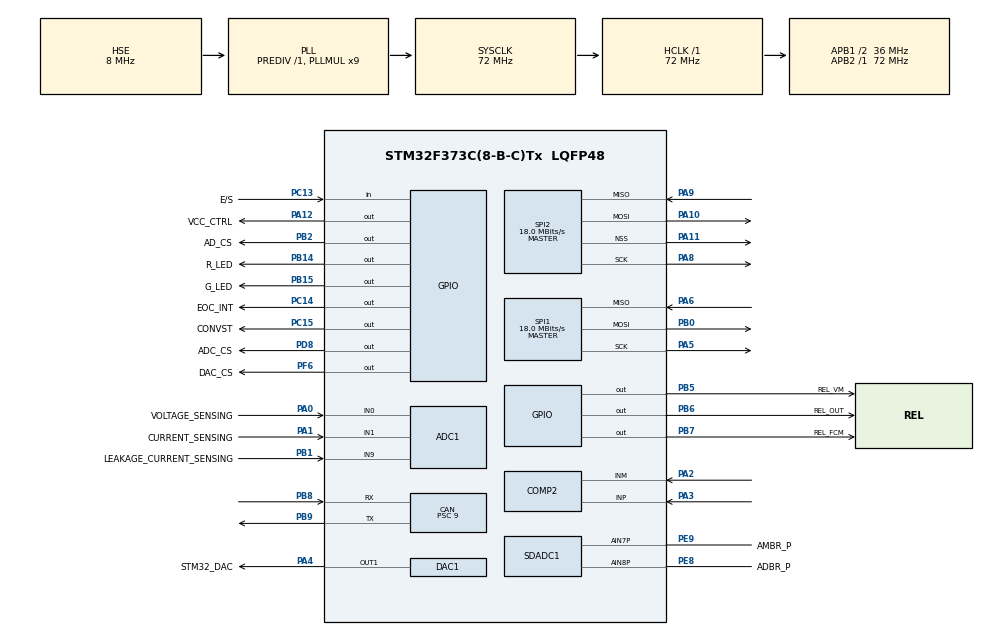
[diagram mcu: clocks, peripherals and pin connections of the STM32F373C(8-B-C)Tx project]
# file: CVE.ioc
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ADC1.Channel-10\#ChannelRegularConversion=ADC_CHANNEL_1
ADC1.Channel-9\#ChannelRegularConversion=ADC_CHANNEL_0
ADC1.ContinuousConvMode=ENABLE
ADC1.DataAlign=ADC_DATAALIGN_RIGHT
ADC1.DiscontinuousConvMode=DISABLE
ADC1.EnableRegularConversion=ENABLE
ADC1.InjNumberOfConversion=0
ADC1.NbrOfConversion=2
ADC1.NbrOfConversionFlag=1
ADC1.Rank-10\#ChannelRegularConversion=2
ADC1.Rank-9\#ChannelRegularConversion=1
ADC1.SamplingTime-10\#ChannelRegularConversion=ADC_SAMPLETIME_71CYCLES_5
ADC1.SamplingTime-9\#ChannelRegularConversion=ADC_SAMPLETIME_71CYCLES_5
ADC1.ScanConvMode=ADC_SCAN_ENABLE
ADC1.master=1
CAN.BS1=CAN_BS1_13TQ
CAN.BS2=CAN_BS2_2TQ
CAN.CalculateTimeBit=4000
CAN.CalculateTimeQuantum=250.0
CAN.Prescaler=9
DAC1.DAC_Trigger=DAC_TRIGGER_NONE
Dma.ADC1.0.Direction=DMA_PERIPH_TO_MEMORY
Dma.ADC1.0.Instance=DMA1_Channel1
Dma.ADC1.0.MemDataAlignment=DMA_MDATAALIGN_HALFWORD
Dma.ADC1.0.MemInc=DMA_MINC_ENABLE
Dma.ADC1.0.Mode=DMA_NORMAL
Dma.ADC1.0.PeriphDataAlignment=DMA_PDATAALIGN_HALFWORD
Dma.ADC1.0.PeriphInc=DMA_PINC_DISABLE
Dma.ADC1.0.Priority=DMA_PRIORITY_VERY_HIGH
Dma.Request0=ADC1
FREERTOS.Tasks01=defaultTask,0,128,StartDefaultTask,Default
Mcu.Family=STM32F3
Mcu.Name=STM32F373C(8-B-C)Tx
Mcu.Package=LQFP48
NVIC.DMA1_Channel1_IRQn=true\:5\:0\:false\:false\:true\:true
NVIC.PriorityGroup=NVIC_PRIORITYGROUP_4
NVIC.TIM2_IRQn=true\:0\:0\:false\:false\:true\:false
NVIC.TimeBase=TIM2_IRQn
NVIC.TimeBaseIP=TIM2
PA0.GPIO_Label=VOLTAGE_SENSING
PA0.Mode=IN0
PA0.Signal=ADC1_IN0
PA1.GPIO_Label=CURRENT_SENSING
PA1.Mode=IN1
PA1.Signal=ADC1_IN1
PA10.Mode=Full_Duplex_Master
PA10.Signal=SPI2_MOSI
PA11.GPIO_PuPd=GPIO_PULLUP
PA11.Mode=NSS_Signal_Hard_Output
PA11.Signal=SPI2_NSS
PA12.GPIO_Label=VCC_CTRL
PA12.GPIO_ModeDefaultOutputPP=GPIO_MODE_OUTPUT_OD
PA12.PinState=GPIO_PIN_SET
PA12.Signal=GPIO_Output
PA13.Mode=Trace_Asynchronous_SW
PA13.Signal=SYS_JTMS-SWDIO
PA14.Mode=Trace_Asynchronous_SW
PA14.Signal=SYS_JTCK-SWCLK
PA15.Signal=SYS_JTDI
PA2.Mode=INM
PA2.Signal=COMP2_INM
PA3.Mode=INP
PA3.Signal=COMP2_INP
PA4.GPIO_Label=STM32_DAC
PA4.Signal=COMP_DAC11_group
PA5.Mode=Full_Duplex_Master
PA5.Signal=SPI1_SCK
PA6.Mode=Full_Duplex_Master
PA6.Signal=SPI1_MISO
PA8.Mode=Full_Duplex_Master
PA8.Signal=SPI2_SCK
PA9.Mode=Full_Duplex_Master
PA9.Signal=SPI2_MISO
PB0.Mode=Full_Duplex_Master
PB0.Signal=SPI1_MOSI
PB1.GPIO_Label=LEAKAGE_CURRENT_SENSING
PB1.Mode=IN9
PB1.Signal=ADC1_IN9
PB14.GPIO_Label=R_LED
PB14.Signal=GPIO_Output
PB15.GPIO_Label=G_LED
PB15.Signal=GPIO_Output
PB2.GPIO_Label=AD_CS
PB2.Signal=GPIO_Output
PB3.Mode=Trace_Asynchronous_SW
PB3.Signal=SYS_JTDO-TRACESWO
PB4.Signal=SYS_NJTRST
PB5.GPIO_Label=REL_VM
PB5.Signal=GPIO_Output
PB6.GPIO_Label=REL_OUT
PB6.Signal=GPIO_Output
PB7.GPIO_Label=REL_FCM
PB7.Signal=GPIO_Output
PB8.Mode=Master
PB8.Signal=CAN_RX
PB9.Mode=Master
PB9.Signal=CAN_TX
PC13.GPIO_Label=E/S
PC13.Signal=GPIO_Input
PC14-OSC32_IN.GPIO_Label=EOC_INT
PC14-OSC32_IN.Signal=GPIO_Output
PC15-OSC32_OUT.GPIO_Label=CONVST
PC15-OSC32_OUT.Signal=GPIO_Output
PD8.GPIO_Label=ADC_CS
PD8.Signal=GPIO_Output
PE8.GPIO_Label=ADBR_P
PE8.Mode=IN8-Single-Ended zero reference
PE8.Signal=SDADC1_AIN8P
PE9.GPIO_Label=AMBR_P
PE9.Mode=IN7-Single-Ended zero reference
PE9.Signal=SDADC1_AIN7P
PF0-OSC_IN.Mode=HSE-External-Oscillator
PF0-OSC_IN.Signal=RCC_OSC_IN
PF1-OSC_OUT.Mode=HSE-External-Oscillator
PF1-OSC_OUT.Signal=RCC_OSC_OUT
PF6.GPIO_Label=DAC_CS
PF6.Signal=GPIO_Output
ProjectManager.HeapSize=0x200
ProjectManager.StackSize=0x400
ProjectManager.TargetToolchain=MDK-ARM V5
RCC.AHBFreq_Value=72000000
RCC.APB1CLKDivider=RCC_HCLK_DIV2
RCC.APB1Freq_Value=36000000
RCC.APB1TimFreq_Value=72000000
RCC.APB2Freq_Value=72000000
RCC.APB2TimFreq_Value=72000000
RCC.CortexFreq_Value=72000000
RCC.HCLKFreq_Value=72000000
RCC.HSE_VALUE=8000000
RCC.HSI_VALUE=8000000
RCC.LSE_VALUE=32768
RCC.PLLMUL=RCC_PLL_MUL9
RCC.PLLSourceVirtual=RCC_PLLSOURCE_HSE
RCC.SDADCPresc=RCC_SDADCSYSCLK_DIV48
RCC.SYSCLKFreq_VALUE=72000000
RCC.SYSCLKSource=RCC_SYSCLKSOURCE_PLLCLK
RCC.USBFreq_Value=72000000
SDADC1.CommonMode0=SDADC_COMMON_MODE_VSSA
SDADC1.ContinuousMode=SDADC_CONTINUOUS_CONV_OFF
SDADC1.EnableInjectedConversion=DISABLE
SDADC1.EnableRegularconversion=ENABLE
SDADC1.FastConversionMode=SDADC_FAST_CONV_DISABLE
SDADC1.Gain0=SDADC_GAIN_1_2
SDADC1.IdleLowPowerMode=SDADC_LOWPOWER_NONE
SDADC1.InputMode0=SDADC_INPUT_MODE_SE_OFFSET
SDADC1.MultimodeType=__NULL
SDADC1.NbrOfConversionFlag=1
SDADC1.Offset0=0
SDADC1.ReferenceVoltage=SDADC_VREF_EXT
SDADC1.SlowClockMode=SDADC_SLOW_CLOCK_ENABLE
SDADC1.Trigger=SDADC_SOFTWARE_TRIGGER
SH.COMP_DAC11_group.0=DAC1_OUT1,DAC_OUT1
SPI1.BaudRatePrescaler=SPI_BAUDRATEPRESCALER_4
SPI1.CalculateBaudRate=18.0 MBits/s
SPI1.Direction=SPI_DIRECTION_2LINES
SPI1.Mode=SPI_MODE_MASTER
SPI1.VirtualType=VM_MASTER
SPI2.BaudRatePrescaler=SPI_BAUDRATEPRESCALER_2
SPI2.CalculateBaudRate=18.0 MBits/s
SPI2.Direction=SPI_DIRECTION_2LINES
SPI2.Mode=SPI_MODE_MASTER
SPI2.VirtualNSS=VM_NSSHARD
SPI2.VirtualType=VM_MASTER
VP_FREERTOS_VS_ENABLE.Mode=Enabled
VP_SDADC1_CONF0.Mode=ConfigZero
VP_SYS_VS_tim2.Mode=TIM2
board=CVE

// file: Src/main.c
/**
  ******************************************************************************
  * File Name          : main.c
  * Description        : Main program body
  ******************************************************************************
  *
  * Copyright (c) 2017 STMicroelectronics International N.V.
  * All rights reserved.
  *
  * Redistribution and use in source and binary forms, with or without
  * modification, are permitted, provided that the following conditions are met:
  *
  * 1. Redistribution of source code must retain the above copyright notice,
  *    this list of conditions and the following disclaimer.
  * 2. Redistributions in binary form must reproduce the above copyright notice,
  *    this list of conditions and the following disclaimer in the documentation
  *    and/or other materials provided with the distribution.
  * 3. Neither the name of STMicroelectronics nor the names of other
  *    contributors to this software may be used to endorse or promote products
  *    derived from this software without specific written permission.
  * 4. This software, including modifications and/or derivative works of this
  *    software, must execute solely and exclusively on microcontroller or
  *    microprocessor devices manufactured by or for STMicroelectronics.
  * 5. Redistribution and use of this software other than as permitted under
  *    this license is void and will automatically terminate your rights under
  *    this license.
  *
  * THIS SOFTWARE IS PROVIDED BY STMICROELECTRONICS AND CONTRIBUTORS "AS IS"
  * AND ANY EXPRESS, IMPLIED OR STATUTORY WARRANTIES, INCLUDING, BUT NOT
  * LIMITED TO, THE IMPLIED WARRANTIES OF MERCHANTABILITY, FITNESS FOR A
  * PARTICULAR PURPOSE AND NON-INFRINGEMENT OF THIRD PARTY INTELLECTUAL PROPERTY
  * RIGHTS ARE DISCLAIMED TO THE FULLEST EXTENT PERMITTED BY LAW. IN NO EVENT
  * SHALL STMICROELECTRONICS OR CONTRIBUTORS BE LIABLE FOR ANY DIRECT, INDIRECT,
  * INCIDENTAL, SPECIAL, EXEMPLARY, OR CONSEQUENTIAL DAMAGES (INCLUDING, BUT NOT
  * LIMITED TO, PROCUREMENT OF SUBSTITUTE GOODS OR SERVICES; LOSS OF USE, DATA,
  * OR PROFITS; OR BUSINESS INTERRUPTION) HOWEVER CAUSED AND ON ANY THEORY OF
  * LIABILITY, WHETHER IN CONTRACT, STRICT LIABILITY, OR TORT (INCLUDING
  * NEGLIGENCE OR OTHERWISE) ARISING IN ANY WAY OUT OF THE USE OF THIS SOFTWARE,
  * EVEN IF ADVISED OF THE POSSIBILITY OF SUCH DAMAGE.
  *
  ******************************************************************************
  */
#include "main.h"
#include "stm32f3xx_hal.h"
#include "cmsis_os.h"
#include "adc.h"
#include "can.h"
#include "comp.h"
#include "dac.h"
#include "dma.h"
#include "sdadc.h"
#include "spi.h"
#include "gpio.h"

/* USER CODE BEGIN Includes */
#include "arm_math.h"
#define VDD_mV															3340.0
#define CONVERT_RAW_12bitDATA_TO_mV(value) 	(value*VDD_mV/4095.0)
#define CONVERT_mV_TO_RAW_12bitDATA(value)	(uint16_t)(value*4095/VDD_mV)
#define CONVERT_RAW_16bitDATA_TO_mV(value) 	(value*VDD_mV/32767.0)
#define TWOSCOMPLEMENT(value)							 	((~value)+1)

/* PID parameters */
#define PID_PARAM_KP        0.01     	/* Proportional */
#define PID_PARAM_KI        0.025   	/* Integral */
#define PID_PARAM_KD        0      /* Derivative */

#define V_MEAS_DIVIDER_KP		1.51			/* multiplication factor the voltage mearurement divider (R67, R69) */

/* USER CODE END Includes */

/* USER CODE BEGIN PV */
uint32_t G_LED_sts;
uint8_t ADCval;
uint32_t SARADCval, SDADCval;
float DACvalue_mV;
uint16_t DACvalue_u16;
uint16_t ADCinDMArawValues[2];
// PID variables
float pid_error;
arm_pid_instance_f32 PID;

/* USER CODE END PV */

void SystemClock_Config(void);
void Error_Handler(void);
void MX_FREERTOS_Init(void);

/* USER CODE BEGIN PFP */
/* Private function prototypes -----------------------------------------------*/

/* USER CODE END PFP */

int main(void)
{

  /* USER CODE BEGIN 1 */
	printf("SWD TERMINAL enabled!!!\n");
	/*-------------PID initialization---------------------------*/
	PID.Kp = PID_PARAM_KP;	/* Proportional */
	PID.Ki = PID_PARAM_KI;	/* Integral */
	PID.Kd = PID_PARAM_KD;	/* Derivative */
	/* Initialize PID system */
	arm_pid_init_f32(&PID, 1);

  /* USER CODE END 1 */

  /* MCU Configuration----------------------------------------------------------*/

  /* Reset of all peripherals, Initializes the Flash interface and the Systick. */
  HAL_Init();

  /* Configure the system clock */
  SystemClock_Config();

  /* Initialize all configured peripherals */
  MX_GPIO_Init();
  MX_DMA_Init();
  MX_ADC1_Init();
  MX_CAN_Init();
  MX_COMP2_Init();
  MX_DAC1_Init();
  MX_SDADC1_Init();
  MX_SPI1_Init();
  MX_SPI2_Init();

  /* USER CODE BEGIN 2 */
	// shut down all leds
	HAL_GPIO_WritePin(G_LED_GPIO_Port, G_LED_Pin, GPIO_PIN_SET);
	HAL_GPIO_WritePin(R_LED_GPIO_Port, R_LED_Pin, GPIO_PIN_SET);
	// close mosfet Q1 VCC-CTRL and supply Vcc=5V to the board
	HAL_GPIO_WritePin(VCC_CTRL_GPIO_Port, VCC_CTRL_Pin, GPIO_PIN_RESET);

	// open output relay
	HAL_GPIO_WritePin(REL_OUT_GPIO_Port, REL_OUT_Pin, GPIO_PIN_RESET);
	// open voltage measurement relay
	HAL_GPIO_WritePin(REL_VM_GPIO_Port, REL_VM_Pin, GPIO_PIN_RESET);

	// close output relay
	HAL_GPIO_WritePin(REL_OUT_GPIO_Port, REL_OUT_Pin, GPIO_PIN_SET);
	// close voltage measurement relay
	HAL_GPIO_WritePin(REL_VM_GPIO_Port, REL_VM_Pin, GPIO_PIN_SET);

	// open fine current measurement relay
	HAL_GPIO_WritePin(REL_FCM_GPIO_Port, REL_FCM_Pin, GPIO_PIN_RESET);

	// Calibration of SAR ADCs
  if (HAL_ADCEx_Calibration_Start(&hadc1) != HAL_OK)
  {
		printf("ERROR: SAR ADC not calibrated!");
    Error_Handler();
  }

	// Calibration of SD ADCs
	HAL_SDADC_CalibrationStart(&hsdadc1, SDADC_CALIBRATION_SEQ_1);
	// wait up to 2 seconds for the end of calibration
	if(HAL_SDADC_PollForCalibEvent(&hsdadc1, 2000) != HAL_OK ){
		printf("ERROR: SDADC not calibrated!");
		Error_Handler();
	}
	// Select regular channel and enable/disable continuous mode
	HAL_SDADC_ConfigChannel(&hsdadc1, SDADC_CHANNEL_7, SDADC_CONTINUOUS_CONV_OFF);

	// DAC initialization:
	HAL_DAC_Init(&hdac1);
	HAL_DAC_Start(&hdac1, DAC_CHANNEL_1);

  /* USER CODE END 2 */

  /* Call init function for freertos objects (in freertos.c) */
  //MX_FREERTOS_Init();

  /* Start scheduler */
  //osKernelStart();

  /* We should never get here as control is now taken by the scheduler */

  /* Infinite loop */
  /* USER CODE BEGIN WHILE */
  while (1)
 {
		//*********** BLINK ACTIVITY LED ***************
		HAL_Delay(300);
		HAL_GPIO_TogglePin(G_LED_GPIO_Port, G_LED_Pin);

		//*********** TEST ADC *************************
	/*
		// test of SAR ADC by using polling mode
		// Activate the ADC peripheral and start conversions using function
		HAL_ADC_Start(&hadc1);
		// Wait for ADC conversion completion using function
		HAL_ADC_PollForConversion(&hadc1, 100);
		// Retrieve conversion results using function
		SARADCval = HAL_ADC_GetValue(&hadc1);
		// Stop conversion and disable the ADC peripheral using function
		HAL_ADC_Stop(&hadc1);
		// print the ADC converted value
		printf("RAW SAR ADC value is: %d\n", SARADCval);
		printf("Converted SAR ADC value is: %d\n", CONVERT_RAW_12bitDATA_TO_mV(SARADCval));
	*/
		//*********** TEST ADC in DMA mode *************************
		//**********************************************************
		HAL_ADC_Start_DMA(&hadc1, (uint32_t*)ADCinDMArawValues, 2);
		HAL_Delay(100);
		HAL_ADC_Stop_DMA(&hadc1);
		for(uint8_t i=0; i<hadc1.Init.NbrOfConversion; i++){
			printf("ADC in DMA mode value #%d = %2.2f mV\n", i, CONVERT_RAW_12bitDATA_TO_mV(ADCinDMArawValues[i]));
		}
		printf("RAW Vmeas= %d\n", ADCinDMArawValues[0]);

		//********** test Sigma-Delta ADC using polling mode *****************************
		//********************************************************************************
		// Start regular conversion
		HAL_SDADC_Start(&hsdadc1);
		// In polling mode, use HAL_SDADC_PollForConversion to detect the end of regular conversion.
		HAL_SDADC_PollForConversion(&hsdadc1, 1000);

		// Select trigger for regular conversion
		// HAL_SDADC_SelectRegularTrigger(&hsdadc1, SDADC_SOFTWARE_TRIGGER);
		// Get value of regular conversion using
		SDADCval = HAL_SDADC_GetValue(&hsdadc1);
//		printf("SDADC raw value is = %d \n", SDADCval);
//		printf("SDADC value is = %u mV\n", CONVERT_RAW_16bitDATA_TO_mV(SDADCval));
		// Stop regular conversion
		HAL_SDADC_Stop(&hsdadc1);

	/*************** TEST DAC *************************/
	/***************************************************
	DACvalue=DACvalue+10;
  DACvalue = DACvalue % 4096;
	HAL_DAC_SetValue(&hdac1, DAC_CHANNEL_1, DAC_ALIGN_12B_R, DACvalue);
	//HAL_DAC_Stop(&hdac1, DAC_CHANNEL_1);
	printf("DAC RAW Value set is: %d\n", HAL_DAC_GetValue(&hdac1, DAC_CHANNEL_1));
	printf("DAC analog Value set is: %d\n", CONVERT_RAW_12bitDATA_TO_mV(DACvalue));
	*/

	/*************** TEST PID *************************/
	/* Calculate error (read voltage - voltage want) */
	pid_error =  CONVERT_RAW_12bitDATA_TO_mV( ADCinDMArawValues[0] ) *V_MEAS_DIVIDER_KP - CONVERT_RAW_16bitDATA_TO_mV(SDADCval)*10.0;
	printf("%2.2f (pid_error) = %2.2f (Vmeas) - %2.2f (AMBR*10)\n", pid_error, \
		CONVERT_RAW_12bitDATA_TO_mV( ADCinDMArawValues[0] )* V_MEAS_DIVIDER_KP, CONVERT_RAW_16bitDATA_TO_mV(SDADCval)*10.0);
	/* Calculate PID here, argument is error */
	/* Output data will be returned, I will use it as input voltage */
	DACvalue_mV = arm_pid_f32(&PID, pid_error);
	DACvalue_u16 = CONVERT_mV_TO_RAW_12bitDATA(DACvalue_mV);

	printf("DACvalue_u16 (RAW) is: %d \n", DACvalue_u16);
	// check for overflow of DAC value
	if(DACvalue_u16 > 4095){
		DACvalue_u16 = 4095;
	}
	else if(DACvalue_u16 < 0){
		DACvalue_u16 = 0;
	}

	HAL_DAC_SetValue(&hdac1, DAC_CHANNEL_1, DAC_ALIGN_12B_R, DACvalue_u16);
	//HAL_DAC_GetValue(&hdac1, DAC_CHANNEL_1)
	printf("DACvalue (RAW) in mV is: %2.2f\n",CONVERT_RAW_12bitDATA_TO_mV(DACvalue_mV));
  /* USER CODE END WHILE */

  }

}

/** System Clock Configuration
*/
void SystemClock_Config(void)
{

  RCC_OscInitTypeDef RCC_OscInitStruct;
  RCC_ClkInitTypeDef RCC_ClkInitStruct;
  RCC_PeriphCLKInitTypeDef PeriphClkInit;

    /**Initializes the CPU, AHB and APB busses clocks
    */
  RCC_OscInitStruct.OscillatorType = RCC_OSCILLATORTYPE_HSE;
  RCC_OscInitStruct.HSEState = RCC_HSE_ON;
  RCC_OscInitStruct.HSEPredivValue = RCC_HSE_PREDIV_DIV1;
  RCC_OscInitStruct.HSIState = RCC_HSI_ON;
  RCC_OscInitStruct.PLL.PLLState = RCC_PLL_ON;
  RCC_OscInitStruct.PLL.PLLSource = RCC_PLLSOURCE_HSE;
  RCC_OscInitStruct.PLL.PLLMUL = RCC_PLL_MUL9;
  if (HAL_RCC_OscConfig(&RCC_OscInitStruct) != HAL_OK)
  {
    Error_Handler();
  }

    /**Initializes the CPU, AHB and APB busses clocks
    */
  RCC_ClkInitStruct.ClockType = RCC_CLOCKTYPE_HCLK|RCC_CLOCKTYPE_SYSCLK
                              |RCC_CLOCKTYPE_PCLK1|RCC_CLOCKTYPE_PCLK2;
  RCC_ClkInitStruct.SYSCLKSource = RCC_SYSCLKSOURCE_PLLCLK;
  RCC_ClkInitStruct.AHBCLKDivider = RCC_SYSCLK_DIV1;
  RCC_ClkInitStruct.APB1CLKDivider = RCC_HCLK_DIV2;
  RCC_ClkInitStruct.APB2CLKDivider = RCC_HCLK_DIV1;

  if (HAL_RCC_ClockConfig(&RCC_ClkInitStruct, FLASH_LATENCY_2) != HAL_OK)
  {
    Error_Handler();
  }

  PeriphClkInit.PeriphClockSelection = RCC_PERIPHCLK_ADC1|RCC_PERIPHCLK_SDADC;
  PeriphClkInit.SdadcClockSelection = RCC_SDADCSYSCLK_DIV48;
  PeriphClkInit.Adc1ClockSelection = RCC_ADC1PCLK2_DIV2;

  if (HAL_RCCEx_PeriphCLKConfig(&PeriphClkInit) != HAL_OK)
  {
    Error_Handler();
  }

  HAL_PWREx_EnableSDADC(PWR_SDADC_ANALOG1);

    /**Configure the Systick interrupt time
    */
  HAL_SYSTICK_Config(HAL_RCC_GetHCLKFreq()/1000);

    /**Configure the Systick
    */
  HAL_SYSTICK_CLKSourceConfig(SYSTICK_CLKSOURCE_HCLK);

  /* SysTick_IRQn interrupt configuration */
  HAL_NVIC_SetPriority(SysTick_IRQn, 15, 0);
}

void HAL_TIM_PeriodElapsedCallback(TIM_HandleTypeDef *htim)
{
  if (htim->Instance == TIM2) {
    HAL_IncTick();
  }
}

void Error_Handler(void)
{
  /* USER CODE BEGIN Error_Handler */
	// shut down green led
	HAL_GPIO_WritePin(G_LED_GPIO_Port, G_LED_Pin, GPIO_PIN_SET);
  /* User can add his own implementation to report the HAL error return state */
  while(1)
  {
		// toggle red led to show error state!
		HAL_GPIO_TogglePin(R_LED_GPIO_Port, R_LED_Pin);
		HAL_Delay(100);
  }
  /* USER CODE END Error_Handler */
}

/************************ (C) COPYRIGHT STMicroelectronics *****END OF FILE****/
